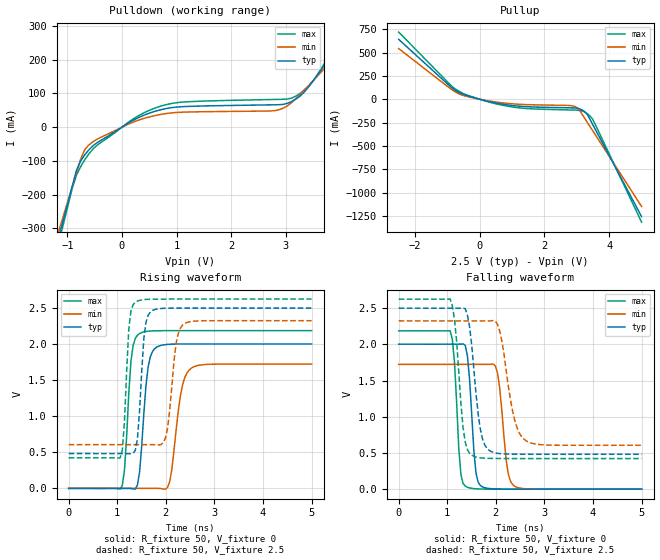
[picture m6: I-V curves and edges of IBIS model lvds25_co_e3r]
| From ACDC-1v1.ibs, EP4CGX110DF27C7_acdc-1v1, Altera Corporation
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[Model]   lvds25_co_e3r
Model_type  Output
Polarity   Non-Inverting
Enable Active-Low
| For timing test load parameters, please refer to
| Output Timing Measurement Methodology for Output pins table in
| CIII Device Datasheet: DC and Switching Characteristics Chapter.
Vmeas  = 1.1625
Rref   = 25
Cref   = 0pF
Vref   = 1.25
| C_comp values for normal column I/O
C_comp 4.7pF   4.7pF   4.7pF
[Temperature Range] 25   85   0
[Voltage Range]  2.5   2.325   2.625
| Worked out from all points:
|   slope of the pulldown table from 0 to 0.375 V, typ, clamps not added: 11.2 ohm
|   slope of the pullup table from 0 to 0.375 V, typ, clamps not added: 11.9 ohm
|   rising waveform, R_fixture 50, V_fixture 0: 20-80 % time 141ps typ, 191ps min, 114ps max; typ from 0 V to 2 V
|   falling waveform, R_fixture 50, V_fixture 0: 20-80 % time 118ps typ, 144ps min, 103ps max; typ from 2 V to 0 V
|   rising waveform, R_fixture 50, V_fixture 2.5: 20-80 % time 113ps typ, 151ps min, 94.4ps max; typ from 0.482 V to 2.5 V
|   falling waveform, R_fixture 50, V_fixture 2.5: 20-80 % time 184ps typ, 250ps min, 151ps max; typ from 2.5 V to 0.482 V
[Pulldown]
| voltage   I (typ)   I (min)   I (max)
-2.5V     -1.151A    -1.02A     -1.218A
-1.136V   -313mA     -296.1mA   -328.3mA
-1.061V   -266.5mA   -255.8mA   -278.9mA
-833.3mV  -127.7mA   -135.1mA   -141.8mA
-681.8mV  -81.97mA   -66.61mA   -96.63mA
378.8mV   33.78mA    24.72mA    40.47mA
1.061V    60.24mA    44.07mA    73.56mA
2.954V    67.47mA    56.15mA    82.64mA
3.485V    132.7mA    134.2mA    133.1mA
4.167V    284.2mA    254mA      309.8mA
4.394V    333.7mA    294.5mA    367.7mA
5V        462.2mA    403.4mA    514.6mA
[Pullup]
| voltage   I (typ)   I (min)   I (max)
-2.5V     640.8mA    542.3mA    718.6mA
-909.1mV  137.6mA    115.6mA    156.1mA
-454.6mV  45.28mA    35.45mA    53.43mA
378.8mV   -31.81mA   -23.63mA   -38.62mA
1.061V    -69.21mA   -50.4mA    -85.44mA
2.879V    -92.7mA    -71.76mA   -115.5mA
3.03V     -97.84mA   -94.79mA   -117.1mA
3.182V    -118.8mA   -171.1mA   -127.7mA
3.333V    -168mA     -252.5mA   -157.4mA
3.485V    -266.8mA   -333.9mA   -211.3mA
3.561V    -316.3mA   -374.6mA   -263.5mA
5V        -1.257A    -1.148A    -1.316A
[Ramp]
dV/dt_r   1.201e+000/1.410e-010  1.034e+000/1.908e-010  1.312e+000/1.140e-010
dV/dt_f   1.211e+000/1.843e-010  1.031e+000/2.497e-010  1.321e+000/1.512e-010
R_load = 50ohms
[Rising Waveform]
R_fixture   = 50
V_fixture   = 0
V_fixture_min = 0
V_fixture_max = 0
| time   V (typ)   V (min)   V (max)
0s        0V         0V         0V
1.104ns   109.9uV    -82.6uV    43.5mV
1.282ns   -780.7uV   -101uV     1.762V
1.459ns   223.7mV    -60.29uV   2.147V
1.636ns   1.686V     69.44uV    2.179V
1.813ns   1.959V     287.4uV    2.185V
2.079ns   1.998V     93.51mV    2.187V
2.301ns   2.002V     1.288V     2.187V
2.522ns   2.002V     1.666V     2.187V
5ns       2.002V     1.724V     2.187V
[Falling Waveform]
R_fixture   = 50
V_fixture   = 0
V_fixture_min = 0
V_fixture_max = 0
| time   V (typ)   V (min)   V (max)
0s        2.003V     1.724V     2.187V
1.06ns    2.003V     1.724V     2.188V
1.282ns   2.003V     1.724V     198.3mV
1.37ns    1.986V     1.724V     42.21mV
1.592ns   219.9mV    1.724V     5.605mV
1.68ns    51.06mV    1.724V     2.729mV
2.035ns   2.164mV    1.603V     164.9uV
2.256ns   377.2uV    209.5mV    28.29uV
2.389ns   134.1uV    38.99mV    10.72uV
5ns       0V         0V         695.9nV
[Rising Waveform]
R_fixture   = 50
V_fixture   = 2.5
V_fixture_min = 2.325
V_fixture_max = 2.625
| time   V (typ)   V (min)   V (max)
0s        482.3mV    606.4mV    423.1mV
1.06ns    482.4mV    606.2mV    422.8mV
1.237ns   481.6mV    606.2mV    2.21V
1.37ns    524.3mV    606.2mV    2.58V
1.548ns   2.082V     606.5mV    2.618V
1.68ns    2.445V     606.6mV    2.622V
1.991ns   2.497V     695mV      2.624V
2.212ns   2.499V     2.014V     2.625V
2.389ns   2.5V       2.288V     2.625V
5ns       2.5V       2.325V     2.625V
[Falling Waveform]
R_fixture   = 50
V_fixture   = 2.5
V_fixture_min = 2.325
V_fixture_max = 2.625
| time   V (typ)   V (min)   V (max)
0s        2.5V       2.325V     2.625V
1.06ns    2.5V       2.324V     2.626V
1.326ns   2.503V     2.324V     847.4mV
1.503ns   1.991V     2.325V     469.5mV
1.68ns    832.3mV    2.325V     433.2mV
1.858ns   539.1mV    2.324V     425.6mV
2.079ns   491.7mV    2.184V     423.6mV
2.389ns   483.2mV    950.6mV    423.1mV
2.611ns   482.5mV    673.5mV    423.1mV
5ns       482.3mV    606.4mV    423.1mV
